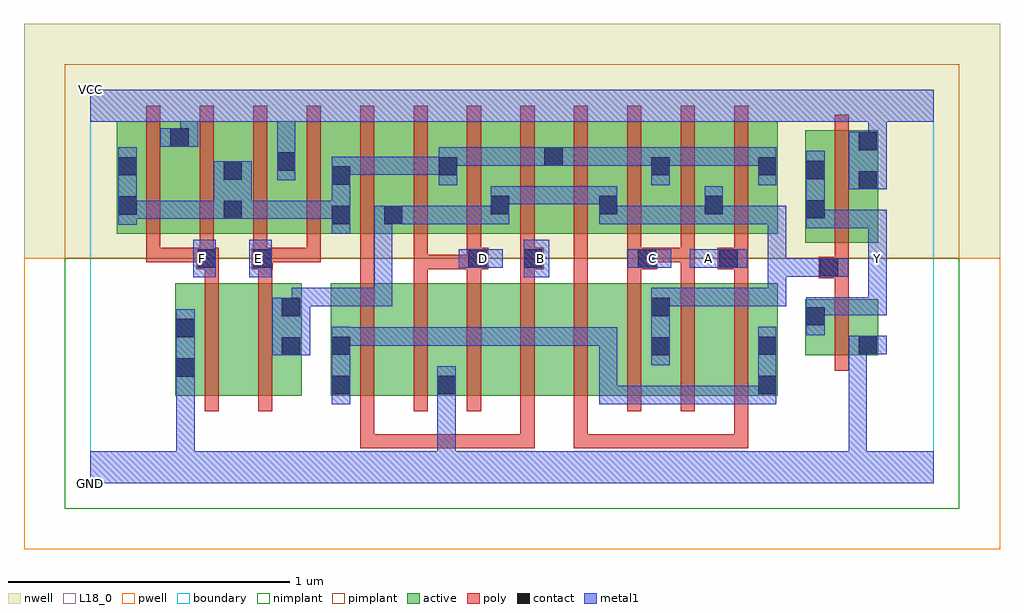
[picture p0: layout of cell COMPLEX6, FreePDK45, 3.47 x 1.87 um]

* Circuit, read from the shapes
.subckt COMPLEX6 A B C D E F GND VCC Y
M1 n1 F GND VSUBS nfet w=0.4u l=0.05u
M2 n2 E n1 VSUBS nfet w=0.4u l=0.05u
M3 n3 B n4 VSUBS nfet w=0.4u l=0.05u
M4 GND D n3 VSUBS nfet w=0.4u l=0.05u
M5 n5 D GND VSUBS nfet w=0.4u l=0.05u
M6 n6 B n5 VSUBS nfet w=0.4u l=0.05u
M7 n7 A n6 VSUBS nfet w=0.4u l=0.05u
M8 n2 C n7 VSUBS nfet w=0.4u l=0.05u
M9 n8 C n2 VSUBS nfet w=0.4u l=0.05u
M10 n4 A n8 VSUBS nfet w=0.4u l=0.05u
M11 GND n2 Y VSUBS nfet w=0.2u l=0.05u
M12 VCC F n9 n10 pfet w=0.4u l=0.05u m=2
M13 VCC E n9 n10 pfet w=0.4u l=0.05u m=2
M14 n2 B n9 n10 pfet w=0.4u l=0.05u m=2
M15 n9 D n2 n10 pfet w=0.4u l=0.05u m=2
M16 n2 A n9 n10 pfet w=0.4u l=0.05u m=2
M17 n9 C n2 n10 pfet w=0.4u l=0.05u m=2
M18 VCC n2 Y n10 pfet w=0.4u l=0.05u
.ends

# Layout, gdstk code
import gdstk
lib = gdstk.Library(unit=1e-6, precision=1e-09)
def R(c, l, rs):  # rectangles x0, y0, x1, y1
    for r in rs: c.add(gdstk.rectangle(r[:2], r[2:], *l))
def A(c, l, x, y, w, h, nx, ny, dx, dy):  # array of equal rectangles
    R(c, l, [(x+i*dx, y+j*dy, x+i*dx+w, y+j*dy+h) for i in range(nx) for j in range(ny)])
active = (1, 0)
pwell = (2, 0)
nwell = (3, 0)
nimplant = (4, 0)
pimplant = (5, 0)
poly = (9, 0)
contact = (10, 0)
metal1 = (11, 0)
L18_0 = (18, 0)
boundary = (235, 0)

complex6 = lib.new_cell('COMPLEX6')
R(complex6, active, [(0.302,0.312,0.527,0.712), (0.527,0.312,0.752,0.712), (0.677,0.312,0.752,0.712), (0.855,0.312,1.08,0.712), (0.855,0.312,0.93,0.712), (1.08,0.312,1.305,0.712), (1.23,0.312,1.305,0.577), (1.23,0.312,1.46,0.712), (1.46,0.312,1.65,0.712), (1.65,0.312,1.84,0.712), (1.84,0.312,2.065,0.712), (1.99,0.312,2.22,0.712), (2.22,0.312,2.445,0.712), (2.37,0.312,2.445,0.577), (0.302,0.332,0.377,0.712), (1.99,0.345,2.065,0.712), (2.542,0.455,2.617,0.655), (2.542,0.455,2.802,0.655), (2.727,0.455,2.802,0.655), (2.542,0.855,2.802,1.255), (2.542,0.855,2.617,1.2), (2.727,0.855,2.802,1.255), (0.095,0.887,0.355,1.287), (0.095,0.887,0.17,1.2), (0.28,0.887,0.545,1.287), (0.47,0.887,0.735,1.287), (0.66,0.887,0.93,1.287), (0.855,0.887,1.115,1.287), (1.04,0.887,1.31,1.287), (1.235,0.887,1.495,1.287), (1.42,0.887,1.685,1.287), (1.61,0.887,1.88,1.287), (1.805,0.887,2.065,1.287), (1.99,0.887,2.255,1.287), (2.18,0.887,2.445,1.287), (2.37,0.887,2.445,1.2), (0.28,0.907,0.355,1.287), (0.47,0.907,0.545,1.2), (0.66,0.907,0.735,1.255), (0.855,0.907,0.93,1.2), (1.04,0.907,1.115,1.07), (1.235,0.907,1.31,1.2), (1.42,0.907,1.495,1.07), (1.61,0.907,1.685,1.2), (1.805,0.907,1.88,1.07), (1.99,0.907,2.065,1.2), (2.18,0.907,2.255,1.07)])
R(complex6, pwell, [(-0.235,-0.235,3.235,0.8)])
R(complex6, nwell, [(-0.235,0.8,3.235,1.635)])
R(complex6, nimplant, [(-0.09,-0.09,3.09,0.8)])
R(complex6, pimplant, [(-0.09,0.8,3.09,1.49)])
A(complex6, poly, 1.34, 0.125, 0.05, 0.05, 3, 1, 0.19, 0)
A(complex6, poly, 0.96, 0.257, 0.05, 0.51, 8, 1, 0.19, 0)
A(complex6, poly, 0.96, 0.717, 0.05, 0.095, 6, 1, 0.19, 0)
A(complex6, poly, 0.2, 0.787, 0.05, 0.095, 4, 1, 0.19, 0)
A(complex6, poly, 1.91, 0.787, 0.05, 0.095, 3, 1, 0.19, 0)
A(complex6, poly, 0.2, 0.832, 0.05, 0.51, 12, 1, 0.19, 0)
R(complex6, poly, [(0.96,0.125,1.01,0.307), (0.96,0.125,1.01,0.175), (0.96,0.125,1.01,0.175), (0.96,0.125,1.01,0.175), (0.96,0.125,1.257,0.175), (1.207,0.125,1.257,0.175), (1.207,0.125,1.257,0.175), (1.207,0.125,1.257,0.175), (1.207,0.125,1.39,0.175), (1.34,0.125,1.39,0.175), (1.34,0.125,1.39,0.175), (1.34,0.125,1.58,0.175), (1.53,0.125,1.58,0.307), (1.72,0.125,1.77,0.307), (1.72,0.125,1.77,0.175), (1.72,0.125,1.77,0.175), (1.72,0.125,2.017,0.175), (1.967,0.125,2.017,0.175), (1.967,0.125,2.15,0.175), (2.1,0.125,2.15,0.175), (2.1,0.125,2.15,0.175), (2.1,0.125,2.15,0.175), (2.1,0.125,2.34,0.175), (2.29,0.125,2.34,0.307), (2.29,0.125,2.34,0.175), (2.29,0.125,2.34,0.175), (2.29,0.125,2.34,0.175), (0.407,0.257,0.457,0.767), (0.597,0.257,0.647,0.767), (2.647,0.4,2.697,0.71), (2.647,0.66,2.697,0.78), (0.407,0.717,0.457,0.812), (0.597,0.717,0.647,0.812), (2.1,0.717,2.15,0.837), (2.29,0.717,2.34,0.812), (2.59,0.73,2.697,0.805), (2.647,0.755,2.697,0.85), (0.377,0.762,0.457,0.837), (0.575,0.762,0.65,0.837), (0.96,0.762,1.01,0.882), (0.96,0.762,1.01,0.812), (1.15,0.762,1.2,0.882), (1.15,0.762,1.2,0.812), (1.15,0.762,1.2,0.812), (1.15,0.762,1.2,0.812), (1.15,0.762,1.39,0.812), (1.34,0.762,1.415,0.837), (1.53,0.762,1.612,0.837), (1.72,0.762,1.77,0.882), (1.72,0.762,1.77,0.812), (1.91,0.762,2.017,0.837), (2.232,0.762,2.34,0.837), (0.2,0.787,0.25,0.837), (0.2,0.787,0.427,0.837), (0.377,0.787,0.427,0.837), (0.377,0.787,0.427,0.837), (0.6,0.787,0.82,0.837), (0.77,0.787,0.82,0.837), (0.77,0.787,0.82,0.837), (0.77,0.787,0.82,0.837), (1.34,0.787,1.39,0.882), (1.53,0.787,1.58,0.882), (1.967,0.787,2.017,0.837), (1.967,0.787,2.017,0.837), (1.967,0.787,2.15,0.837), (2.1,0.787,2.15,0.837), (2.647,0.8,2.697,1.31)])
R(complex6, contact, [(0.86,0.317,0.925,0.382), (1.235,0.317,1.3,0.382), (2.375,0.317,2.44,0.382), (0.307,0.38,0.372,0.445), (0.682,0.455,0.747,0.52), (1.995,0.455,2.06,0.52), (0.86,0.457,0.925,0.522), (2.375,0.457,2.44,0.522), (2.732,0.46,2.797,0.525), (0.307,0.52,0.372,0.585), (2.547,0.562,2.612,0.627), (0.682,0.595,0.747,0.66), (1.995,0.595,2.06,0.66), (2.595,0.735,2.66,0.8), (0.382,0.767,0.447,0.832), (0.58,0.767,0.645,0.832), (1.345,0.767,1.41,0.832), (1.542,0.767,1.607,0.832), (1.947,0.767,2.012,0.832), (2.237,0.767,2.302,0.832), (0.86,0.922,0.925,0.987), (1.045,0.922,1.11,0.987), (0.475,0.94,0.54,1.005), (2.547,0.942,2.612,1.007), (0.1,0.955,0.165,1.02), (1.425,0.957,1.49,1.022), (1.81,0.957,1.875,1.022), (2.185,0.957,2.25,1.022), (2.732,1.045,2.797,1.11), (0.86,1.062,0.925,1.127), (0.475,1.08,0.54,1.145), (2.547,1.082,2.612,1.147), (0.1,1.095,0.165,1.16), (1.24,1.095,1.305,1.16), (1.995,1.095,2.06,1.16), (2.375,1.095,2.44,1.16), (0.665,1.112,0.73,1.177), (1.615,1.13,1.68,1.195), (2.732,1.185,2.797,1.25), (0.285,1.197,0.35,1.262)])
R(complex6, metal1, [(0,0,3,0.115), (0.307,0.05,0.372,0.115), (0.307,0.05,0.372,0.115), (0.307,0.05,0.372,0.115), (0.307,0.05,0.372,0.115), (0.307,0.05,0.372,0.41), (1.235,0.05,1.3,0.115), (1.235,0.05,1.3,0.115), (1.235,0.05,1.3,0.347), (2.697,0.05,2.762,0.525), (0.86,0.282,0.925,0.557), (1.235,0.282,1.3,0.347), (1.235,0.282,1.3,0.347), (1.235,0.282,1.3,0.417), (1.81,0.282,1.875,0.347), (1.81,0.282,1.875,0.347), (1.81,0.282,1.875,0.347), (1.81,0.282,2.012,0.347), (1.81,0.282,1.875,0.555), (1.947,0.282,2.012,0.347), (1.947,0.282,2.012,0.347), (1.947,0.282,2.012,0.347), (1.947,0.282,2.197,0.347), (2.132,0.282,2.197,0.347), (2.132,0.282,2.44,0.347), (2.375,0.282,2.44,0.347), (2.375,0.282,2.44,0.347), (2.375,0.282,2.44,0.557), (0.307,0.345,0.372,0.62), (1.995,0.42,2.06,0.695), (0.647,0.455,0.782,0.66), (2.697,0.46,2.762,0.525), (2.697,0.46,2.762,0.525), (2.697,0.46,2.762,0.525), (2.697,0.46,2.762,0.525), (2.697,0.46,2.762,0.525), (2.697,0.46,2.762,0.525), (2.697,0.46,2.762,0.525), (2.697,0.46,2.762,0.525), (2.697,0.46,2.832,0.525), (0.86,0.49,0.925,0.555), (0.86,0.49,0.925,0.555), (0.86,0.49,1.075,0.555), (1.01,0.49,1.075,0.555), (1.01,0.49,1.075,0.555), (1.01,0.49,1.075,0.555), (1.01,0.49,1.3,0.555), (1.235,0.49,1.3,0.555), (1.235,0.49,1.3,0.555), (1.235,0.49,1.3,0.555), (1.235,0.49,1.507,0.555), (1.442,0.49,1.507,0.555), (1.442,0.49,1.507,0.555), (1.442,0.49,1.507,0.555), (1.442,0.49,1.645,0.555), (1.58,0.49,1.645,0.555), (1.58,0.49,1.645,0.555), (1.58,0.49,1.645,0.555), (1.58,0.49,1.875,0.555), (1.81,0.49,1.875,0.555), (2.547,0.527,2.612,0.662), (0.717,0.595,0.782,0.66), (0.717,0.595,0.782,0.695), (2.547,0.597,2.612,0.662), (2.547,0.597,2.612,0.662), (2.547,0.597,2.832,0.662), (2.767,0.597,2.832,0.662), (2.767,0.597,2.832,0.797), (0.717,0.63,0.782,0.695), (0.717,0.63,0.782,0.695), (0.717,0.63,0.937,0.695), (0.872,0.63,0.937,0.695), (0.872,0.63,0.937,0.695), (0.872,0.63,0.937,0.695), (0.872,0.63,1.075,0.695), (1.01,0.63,1.075,0.695), (1.01,0.63,1.075,0.987), (1.995,0.63,2.06,0.695), (1.995,0.63,2.06,0.695), (1.995,0.63,2.302,0.695), (2.237,0.63,2.302,0.695), (2.237,0.63,2.302,0.695), (2.237,0.63,2.302,0.695), (2.237,0.63,2.475,0.695), (2.41,0.63,2.475,0.8), (2.41,0.63,2.475,0.695), (0.367,0.732,0.447,0.867), (0.565,0.732,0.645,0.867), (1.542,0.732,1.632,0.867), (2.767,0.732,2.832,0.867), (2.41,0.735,2.475,0.8), (2.41,0.735,2.625,0.8), (2.41,0.735,2.475,0.987), (2.56,0.735,2.625,0.8), (2.56,0.735,2.625,0.8), (2.56,0.735,2.695,0.8), (1.31,0.767,1.467,0.832), (1.912,0.767,2.067,0.832), (2.132,0.767,2.337,0.832), (2.767,0.802,2.832,0.972), (0.86,0.887,0.925,1.162), (2.547,0.907,2.832,0.972), (2.547,0.907,2.612,1.182), (2.767,0.907,2.832,0.972), (2.767,0.907,2.832,0.972), (2.767,0.907,2.832,0.972), (0.1,0.92,0.165,1.195), (1.01,0.922,1.145,0.987), (1.08,0.922,1.145,0.987), (1.08,0.922,1.145,0.987), (1.08,0.922,1.352,0.987), (1.287,0.922,1.352,0.987), (1.287,0.922,1.352,0.987), (1.287,0.922,1.352,0.987), (1.287,0.922,1.49,0.987), (1.425,0.922,1.49,1.057), (1.81,0.922,1.875,0.987), (1.81,0.922,1.875,0.987), (1.81,0.922,1.875,1.057), (1.81,0.922,2.06,0.987), (1.995,0.922,2.06,0.987), (1.995,0.922,2.06,0.987), (1.995,0.922,2.06,0.987), (1.995,0.922,2.25,0.987), (2.185,0.922,2.25,1.057), (2.185,0.922,2.475,0.987), (2.41,0.922,2.475,0.987), (2.41,0.922,2.475,0.987), (2.41,0.922,2.475,0.987), (0.1,0.94,0.165,1.005), (0.1,0.94,0.165,1.005), (0.1,0.94,0.367,1.005), (0.302,0.94,0.367,1.005), (0.302,0.94,0.367,1.005), (0.302,0.94,0.367,1.005), (0.302,0.94,0.505,1.005), (0.44,0.94,0.575,1.145), (0.51,0.94,0.575,1.005), (0.51,0.94,0.575,1.005), (0.51,0.94,0.787,1.005), (0.722,0.94,0.787,1.005), (0.722,0.94,0.787,1.005), (0.722,0.94,0.787,1.005), (0.722,0.94,0.925,1.005), (1.425,0.992,1.49,1.057), (1.425,0.992,1.49,1.057), (1.425,0.992,1.737,1.057), (1.672,0.992,1.737,1.057), (1.672,0.992,1.737,1.057), (1.672,0.992,1.737,1.057), (1.672,0.992,1.875,1.057), (2.697,1.045,2.832,1.25), (1.24,1.06,1.305,1.195), (1.995,1.06,2.06,1.195), (2.375,1.06,2.44,1.195), (0.665,1.077,0.73,1.212), (0.86,1.097,0.925,1.162), (0.86,1.097,0.925,1.162), (0.86,1.097,0.925,1.162), (0.86,1.097,0.925,1.162), (0.86,1.097,1.162,1.162), (1.097,1.097,1.162,1.162), (1.097,1.097,1.162,1.162), (1.097,1.097,1.162,1.162), (1.097,1.097,1.305,1.162), (1.24,1.13,1.305,1.195), (1.24,1.13,1.305,1.195), (1.24,1.13,1.49,1.195), (1.425,1.13,1.49,1.195), (1.425,1.13,1.49,1.195), (1.425,1.13,1.49,1.195), (1.425,1.13,1.645,1.195), (1.58,1.13,1.715,1.195), (1.65,1.13,1.715,1.195), (1.65,1.13,1.715,1.195), (1.65,1.13,1.875,1.195), (1.81,1.13,1.875,1.195), (1.81,1.13,1.875,1.195), (1.81,1.13,1.875,1.195), (1.81,1.13,2.06,1.195), (1.995,1.13,2.06,1.195), (1.995,1.13,2.06,1.195), (1.995,1.13,2.302,1.195), (2.237,1.13,2.302,1.195), (2.237,1.13,2.302,1.195), (2.237,1.13,2.302,1.195), (2.237,1.13,2.44,1.195), (0.665,1.147,0.73,1.35), (2.767,1.185,2.832,1.35), (0.25,1.197,0.385,1.262), (0.32,1.197,0.385,1.35), (0,1.285,3,1.4)])
R(complex6, L18_0, [(0,0,3,0.115), (0.307,0.05,0.372,0.115), (0.307,0.05,0.372,0.115), (0.307,0.05,0.372,0.115), (0.307,0.05,0.372,0.115), (0.307,0.05,0.372,0.41), (1.235,0.05,1.3,0.115), (1.235,0.05,1.3,0.115), (1.235,0.05,1.3,0.347), (2.697,0.05,2.762,0.525), (1.235,0.282,1.3,0.347), (1.235,0.282,1.3,0.347), (1.235,0.282,1.3,0.417), (0.307,0.345,0.372,0.62), (2.697,0.46,2.762,0.525), (2.697,0.46,2.762,0.525), (2.697,0.46,2.762,0.525), (2.697,0.46,2.762,0.525), (2.697,0.46,2.762,0.525), (2.697,0.46,2.762,0.525), (2.697,0.46,2.762,0.525), (2.697,0.46,2.762,0.525), (2.697,0.46,2.832,0.525), (2.547,0.527,2.612,0.662), (2.547,0.597,2.612,0.662), (2.547,0.597,2.612,0.662), (2.547,0.597,2.832,0.662), (2.767,0.597,2.832,0.662), (2.767,0.597,2.832,0.797), (0.367,0.732,0.447,0.867), (0.565,0.732,0.645,0.867), (1.542,0.732,1.632,0.867), (2.767,0.732,2.832,0.867), (0.367,0.767,0.432,0.832), (0.567,0.767,0.632,0.832), (1.31,0.767,1.467,0.832), (1.367,0.767,1.432,0.832), (1.567,0.767,1.632,0.832), (1.912,0.767,2.067,0.832), (1.967,0.767,2.032,0.832), (2.132,0.767,2.337,0.832), (2.167,0.767,2.232,0.832), (2.767,0.767,2.832,0.832), (2.767,0.802,2.832,0.972), (2.547,0.907,2.612,1.182), (2.547,0.907,2.832,0.972), (2.767,0.907,2.832,0.972), (2.767,0.907,2.832,0.972), (2.767,0.907,2.832,0.972), (2.697,1.045,2.832,1.25), (0.665,1.077,0.73,1.212), (0.665,1.147,0.73,1.35), (2.767,1.185,2.832,1.35), (0.25,1.197,0.385,1.262), (0.32,1.197,0.385,1.35), (0,1.285,3,1.4)])
R(complex6, boundary, [(0,0,3,1.4)])
complex6.add(gdstk.Label('A', (2.2,0.8), layer=11, texttype=0))
complex6.add(gdstk.Label('B', (1.6,0.8), layer=11, texttype=0))
complex6.add(gdstk.Label('C', (2,0.8), layer=11, texttype=0))
complex6.add(gdstk.Label('D', (1.4,0.8), layer=11, texttype=0))
complex6.add(gdstk.Label('E', (0.6,0.8), layer=11, texttype=0))
complex6.add(gdstk.Label('F', (0.4,0.8), layer=11, texttype=0))
complex6.add(gdstk.Label('Y', (2.8,0.8), layer=11, texttype=0))
complex6.add(gdstk.Label('VCC', (0,1.4), layer=11, texttype=0))
complex6.add(gdstk.Label('GND', (0,0), layer=11, texttype=0))

lib.write_gds('COMPLEX6.gds')
